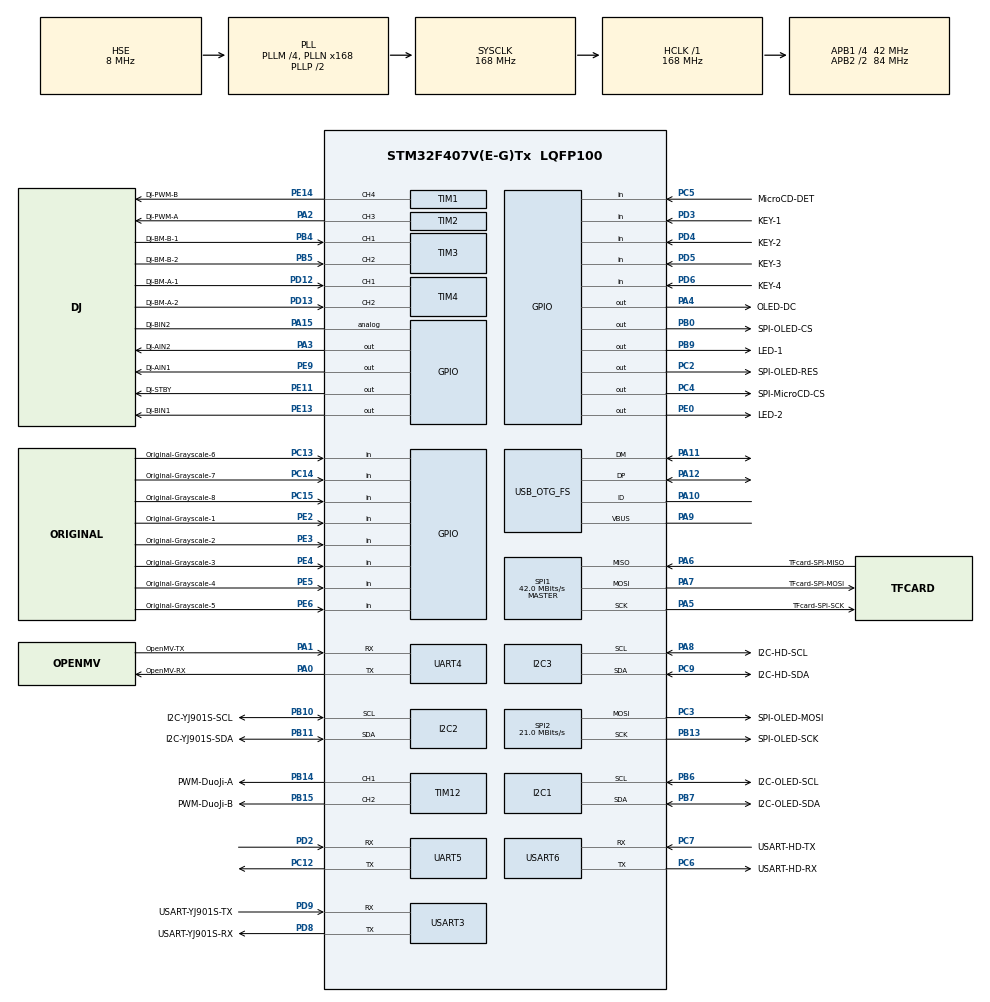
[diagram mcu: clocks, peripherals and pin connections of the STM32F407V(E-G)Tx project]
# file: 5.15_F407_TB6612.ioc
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Mcu.Family=STM32F4
Mcu.Name=STM32F407V(E-G)Tx
Mcu.Package=LQFP100
NVIC.PriorityGroup=NVIC_PRIORITYGROUP_4
PA0-WKUP.GPIO_Label=OpenMV-RX
PA0-WKUP.Mode=Asynchronous
PA0-WKUP.Signal=UART4_TX
PA1.GPIO_Label=OpenMV-TX
PA1.Mode=Asynchronous
PA1.Signal=UART4_RX
PA10.Mode=OTG/Dual_Role_Device
PA10.Signal=USB_OTG_FS_ID
PA11.Mode=OTG/Dual_Role_Device
PA11.Signal=USB_OTG_FS_DM
PA12.Mode=OTG/Dual_Role_Device
PA12.Signal=USB_OTG_FS_DP
PA13.Mode=Serial_Wire
PA13.Signal=SYS_JTMS-SWDIO
PA14.Mode=Serial_Wire
PA14.Signal=SYS_JTCK-SWCLK
PA15.GPIO_Label=DJ-BIN2
PA15.Signal=GPIO_Analog
PA2.GPIO_Label=DJ-PWM-A
PA2.Signal=S_TIM2_CH3
PA3.GPIO_Label=DJ-AIN2
PA3.Signal=GPIO_Output
PA4.GPIO_Label=OLED-DC
PA4.Signal=GPIO_Output
PA5.GPIO_Label=TFcard-SPI-SCK
PA5.Mode=Full_Duplex_Master
PA5.Signal=SPI1_SCK
PA6.GPIO_Label=TFcard-SPI-MISO
PA6.Mode=Full_Duplex_Master
PA6.Signal=SPI1_MISO
PA7.GPIO_Label=TFcard-SPI-MOSI
PA7.Mode=Full_Duplex_Master
PA7.Signal=SPI1_MOSI
PA8.GPIO_Label=I2C-HD-SCL
PA8.Mode=I2C
PA8.Signal=I2C3_SCL
PA9.Mode=Activate_VBUS
PA9.Signal=USB_OTG_FS_VBUS
PB0.GPIO_Label=SPI-OLED-CS
PB0.Signal=GPIO_Output
PB10.GPIO_Label=I2C-YJ901S-SCL
PB10.Mode=I2C
PB10.Signal=I2C2_SCL
PB11.GPIO_Label=I2C-YJ901S-SDA
PB11.Mode=I2C
PB11.Signal=I2C2_SDA
PB13.GPIO_Label=SPI-OLED-SCK
PB13.Mode=TX_Only_Simplex_Unidirect_Master
PB13.Signal=SPI2_SCK
PB14.GPIO_Label=PWM-DuoJi-A
PB14.Signal=S_TIM12_CH1
PB15.GPIO_Label=PWM-DuoJi-B
PB15.Signal=S_TIM12_CH2
PB4.GPIO_Label=DJ-BM-B-1
PB4.Signal=S_TIM3_CH1
PB5.GPIO_Label=DJ-BM-B-2
PB5.Signal=S_TIM3_CH2
PB6.GPIO_Label=I2C-OLED-SCL
PB6.Mode=I2C
PB6.Signal=I2C1_SCL
PB7.GPIO_Label=I2C-OLED-SDA
PB7.Mode=I2C
PB7.Signal=I2C1_SDA
PB9.GPIO_Label=LED-1
PB9.Signal=GPIO_Output
PC12.Mode=Asynchronous
PC12.Signal=UART5_TX
PC13-ANTI_TAMP.GPIO_Label=Original-Grayscale-6
PC13-ANTI_TAMP.Signal=GPIO_Input
PC14-OSC32_IN.GPIO_Label=Original-Grayscale-7
PC14-OSC32_IN.Signal=GPIO_Input
PC15-OSC32_OUT.GPIO_Label=Original-Grayscale-8
PC15-OSC32_OUT.Signal=GPIO_Input
PC2.GPIO_Label=SPI-OLED-RES
PC2.Signal=GPIO_Output
PC3.GPIO_Label=SPI-OLED-MOSI
PC3.Mode=TX_Only_Simplex_Unidirect_Master
PC3.Signal=SPI2_MOSI
PC4.GPIO_Label=SPI-MicroCD-CS
PC4.Signal=GPIO_Output
PC5.GPIO_Label=MicroCD-DET
PC5.Signal=GPIO_Input
PC6.GPIO_Label=USART-HD-RX
PC6.Mode=Asynchronous
PC6.Signal=USART6_TX
PC7.GPIO_Label=USART-HD-TX
PC7.Mode=Asynchronous
PC7.Signal=USART6_RX
PC9.GPIO_Label=I2C-HD-SDA
PC9.Mode=I2C
PC9.Signal=I2C3_SDA
PD12.GPIO_Label=DJ-BM-A-1
PD12.Signal=S_TIM4_CH1
PD13.GPIO_Label=DJ-BM-A-2
PD13.Signal=S_TIM4_CH2
PD2.Mode=Asynchronous
PD2.Signal=UART5_RX
PD3.GPIO_Label=KEY-1
PD3.Signal=GPIO_Input
PD4.GPIO_Label=KEY-2
PD4.Signal=GPIO_Input
PD5.GPIO_Label=KEY-3
PD5.Signal=GPIO_Input
PD6.GPIO_Label=KEY-4
PD6.Signal=GPIO_Input
PD8.GPIO_Label=USART-YJ901S-RX
PD8.Mode=Asynchronous
PD8.Signal=USART3_TX
PD9.GPIO_Label=USART-YJ901S-TX
PD9.Mode=Asynchronous
PD9.Signal=USART3_RX
PE0.GPIO_Label=LED-2
PE0.Signal=GPIO_Output
PE11.GPIO_Label=DJ-STBY
PE11.Signal=GPIO_Output
PE13.GPIO_Label=DJ-BIN1
PE13.Signal=GPIO_Output
PE14.GPIO_Label=DJ-PWM-B
PE14.Signal=S_TIM1_CH4
PE2.GPIO_Label=Original-Grayscale-1
PE2.Signal=GPIO_Input
PE3.GPIO_Label=Original-Grayscale-2
PE3.Signal=GPIO_Input
PE4.GPIO_Label=Original-Grayscale-3
PE4.Signal=GPIO_Input
PE5.GPIO_Label=Original-Grayscale-4
PE5.Signal=GPIO_Input
PE6.GPIO_Label=Original-Grayscale-5
PE6.Signal=GPIO_Input
PE9.GPIO_Label=DJ-AIN1
PE9.Signal=GPIO_Output
PH0-OSC_IN.Mode=HSE-External-Oscillator
PH0-OSC_IN.Signal=RCC_OSC_IN
PH1-OSC_OUT.Mode=HSE-External-Oscillator
PH1-OSC_OUT.Signal=RCC_OSC_OUT
ProjectManager.HeapSize=0x200
ProjectManager.StackSize=0x400
ProjectManager.TargetToolchain=MDK-ARM V5.32
RCC.48MHZClocksFreq_Value=48000000
RCC.AHBFreq_Value=168000000
RCC.APB1CLKDivider=RCC_HCLK_DIV4
RCC.APB1Freq_Value=42000000
RCC.APB1TimFreq_Value=84000000
RCC.APB2CLKDivider=RCC_HCLK_DIV2
RCC.APB2Freq_Value=84000000
RCC.APB2TimFreq_Value=168000000
RCC.CortexFreq_Value=168000000
RCC.HCLKFreq_Value=168000000
RCC.HSE_VALUE=8000000
RCC.HSI_VALUE=16000000
RCC.LSE_VALUE=32768
RCC.PLLM=4
RCC.PLLN=168
RCC.PLLQ=7
RCC.SYSCLKFreq_VALUE=168000000
RCC.SYSCLKSource=RCC_SYSCLKSOURCE_PLLCLK
RCC.VCOOutputFreq_Value=336000000
SH.S_TIM12_CH1.0=TIM12_CH1,PWM Generation1 CH1
SH.S_TIM12_CH2.0=TIM12_CH2,PWM Generation2 CH2
SH.S_TIM1_CH4.0=TIM1_CH4,PWM Generation4 CH4
SH.S_TIM2_CH3.0=TIM2_CH3,PWM Generation3 CH3
SH.S_TIM3_CH1.0=TIM3_CH1,Encoder_Interface
SH.S_TIM3_CH2.0=TIM3_CH2,Encoder_Interface
SH.S_TIM4_CH1.0=TIM4_CH1,Encoder_Interface
SH.S_TIM4_CH2.0=TIM4_CH2,Encoder_Interface
SPI1.CalculateBaudRate=42.0 MBits/s
SPI1.Direction=SPI_DIRECTION_2LINES
SPI1.Mode=SPI_MODE_MASTER
SPI1.VirtualType=VM_MASTER
SPI2.CalculateBaudRate=21.0 MBits/s
SPI2.Direction=SPI_DIRECTION_2LINES
SPI2.Mode=SPI_MODE_MASTER
SPI2.VirtualType=VM_MASTER
TIM1.Channel-PWM\ Generation4\ CH4=TIM_CHANNEL_4
TIM12.Channel-PWM\ Generation1\ CH1=TIM_CHANNEL_1
TIM12.Channel-PWM\ Generation2\ CH2=TIM_CHANNEL_2
TIM2.Channel-PWM\ Generation3\ CH3=TIM_CHANNEL_3
UART4.VirtualMode=Asynchronous
UART5.VirtualMode=Asynchronous
USART3.VirtualMode=VM_ASYNC
USART6.VirtualMode=VM_ASYNC
board=custom

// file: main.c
/* USER CODE BEGIN Header */
/**
  ******************************************************************************
  * @file           : main.c
  * @brief          : Main program body
  ******************************************************************************
  * @attention
  *
  * Copyright (c) 2026 STMicroelectronics.
  * All rights reserved.
  *
  * This software is licensed under terms that can be found in the LICENSE file
  * in the root directory of this software component.
  * If no LICENSE file comes with this software, it is provided AS-IS.
  *
  ******************************************************************************
  */
/* USER CODE END Header */
#include "main.h"
#include "i2c.h"
#include "spi.h"
#include "tim.h"
#include "usart.h"
#include "usb_otg.h"
#include "gpio.h"

/* USER CODE BEGIN Includes */
#include "gray_module.h"
#include "gray_monitor.h"

/* USER CODE END Includes */

/* USER CODE BEGIN PD */
#define GRAY_MODULE_UART_TIMEOUT_MS 100U

/* USER CODE END PD */

/* USER CODE BEGIN PV */
static GrayModuleState g_gray_module;
static uint8_t g_gray_uart_rx_byte = 0U;

/* USER CODE END PV */

void SystemClock_Config(void);
/* USER CODE BEGIN PFP */
static void GrayHost_StartUartReceive(void);
static void GrayHost_Poll(void);

/* USER CODE END PFP */

int main(void)
{

  /* MCU Configuration--------------------------------------------------------*/

  /* Reset of all peripherals, Initializes the Flash interface and the Systick. */
  HAL_Init();

  /* Configure the system clock */
  SystemClock_Config();

  /* Initialize all configured peripherals */
  MX_GPIO_Init();
  MX_I2C1_Init();
  MX_I2C2_Init();
  MX_I2C3_Init();
  MX_SPI1_Init();
  MX_SPI2_Init();
  MX_TIM1_Init();
  MX_TIM2_Init();
  MX_TIM3_Init();
  MX_TIM4_Init();
  MX_TIM12_Init();
  MX_UART4_Init();
  MX_UART5_Init();
  MX_USART3_UART_Init();
  MX_USART6_UART_Init();
  MX_USB_OTG_FS_USB_Init();
  /* USER CODE BEGIN 2 */
  GrayModule_Init(&g_gray_module);
  GrayMonitor_Init();
  GrayHost_StartUartReceive();

  /* USER CODE END 2 */

  /* Infinite loop */
  while (1)
  {

    /* USER CODE BEGIN 3 */
    GrayHost_Poll();
    GrayMonitor_Poll(&g_gray_module);
  }
  /* USER CODE END 3 */
}

void SystemClock_Config(void)
{
  RCC_OscInitTypeDef RCC_OscInitStruct = {0};
  RCC_ClkInitTypeDef RCC_ClkInitStruct = {0};

  /** Configure the main internal regulator output voltage
  */
  __HAL_RCC_PWR_CLK_ENABLE();
  __HAL_PWR_VOLTAGESCALING_CONFIG(PWR_REGULATOR_VOLTAGE_SCALE1);

  /** Initializes the RCC Oscillators according to the specified parameters
  * in the RCC_OscInitTypeDef structure.
  */
  RCC_OscInitStruct.OscillatorType = RCC_OSCILLATORTYPE_HSE;
  RCC_OscInitStruct.HSEState = RCC_HSE_ON;
  RCC_OscInitStruct.PLL.PLLState = RCC_PLL_ON;
  RCC_OscInitStruct.PLL.PLLSource = RCC_PLLSOURCE_HSE;
  RCC_OscInitStruct.PLL.PLLM = 4;
  RCC_OscInitStruct.PLL.PLLN = 168;
  RCC_OscInitStruct.PLL.PLLP = RCC_PLLP_DIV2;
  RCC_OscInitStruct.PLL.PLLQ = 7;
  if (HAL_RCC_OscConfig(&RCC_OscInitStruct) != HAL_OK)
  {
    Error_Handler();
  }

  /** Initializes the CPU, AHB and APB buses clocks
  */
  RCC_ClkInitStruct.ClockType = RCC_CLOCKTYPE_HCLK|RCC_CLOCKTYPE_SYSCLK
                              |RCC_CLOCKTYPE_PCLK1|RCC_CLOCKTYPE_PCLK2;
  RCC_ClkInitStruct.SYSCLKSource = RCC_SYSCLKSOURCE_PLLCLK;
  RCC_ClkInitStruct.AHBCLKDivider = RCC_SYSCLK_DIV1;
  RCC_ClkInitStruct.APB1CLKDivider = RCC_HCLK_DIV4;
  RCC_ClkInitStruct.APB2CLKDivider = RCC_HCLK_DIV2;

  if (HAL_RCC_ClockConfig(&RCC_ClkInitStruct, FLASH_LATENCY_5) != HAL_OK)
  {
    Error_Handler();
  }
}

/* USER CODE BEGIN 4 */
static void GrayHost_StartUartReceive(void)
{
  if (HAL_UART_Receive_IT(&huart6, &g_gray_uart_rx_byte, 1U) != HAL_OK)
  {
    Error_Handler();
  }
}

static void GrayHost_Poll(void)
{
  GrayModule_Service(&g_gray_module, HAL_GetTick(), GRAY_MODULE_UART_TIMEOUT_MS);
}

void HAL_UART_RxCpltCallback(UART_HandleTypeDef *huart)
{
  if ((huart != NULL) && (huart->Instance == USART6))
  {
    (void)GrayModule_ConsumeRuntimeUartByte(&g_gray_module,
                                            g_gray_uart_rx_byte,
                                            HAL_GetTick());
    (void)HAL_UART_Receive_IT(&huart6, &g_gray_uart_rx_byte, 1U);
  }
}

void HAL_UART_ErrorCallback(UART_HandleTypeDef *huart)
{
  if ((huart != NULL) && (huart->Instance == USART6))
  {
    (void)HAL_UART_Receive_IT(&huart6, &g_gray_uart_rx_byte, 1U);
  }
}

/* USER CODE END 4 */

void Error_Handler(void)
{
  __disable_irq();
  while (1)
  {
  }
}
